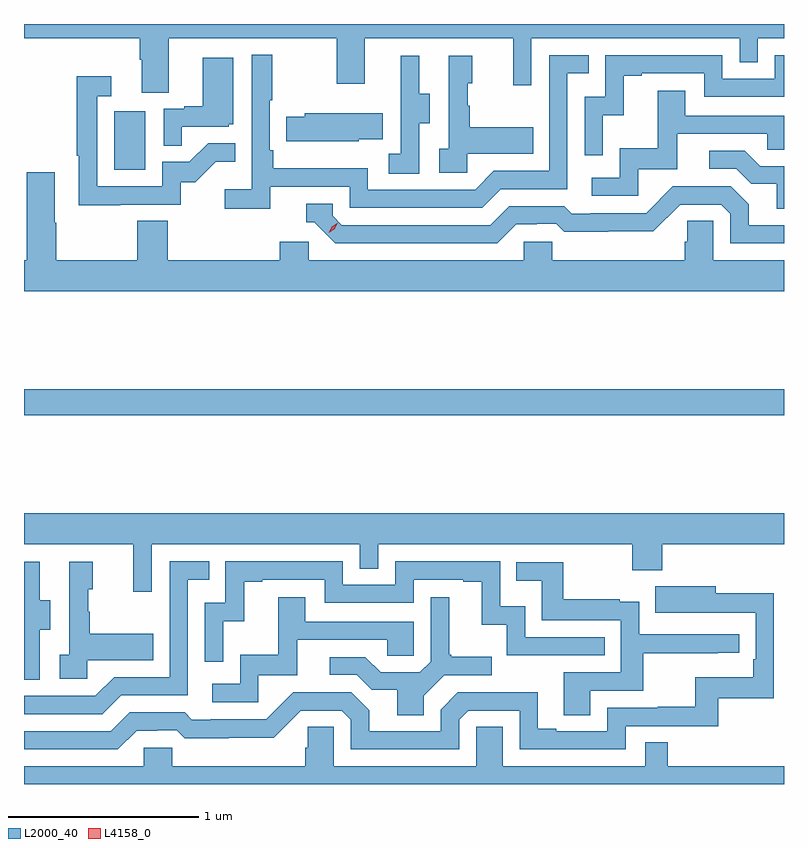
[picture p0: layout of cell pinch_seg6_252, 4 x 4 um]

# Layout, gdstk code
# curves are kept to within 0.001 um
import gdstk
lib = gdstk.Library(unit=1e-6, precision=1e-09)
def R(c, l, rs):  # rectangles x0, y0, x1, y1
    for r in rs: c.add(gdstk.rectangle(r[:2], r[2:], *l))
def P(c, l, *ps):  # polygons
    for p in ps: c.add(gdstk.Polygon(p, *l))
L2000_40 = (2000, 40)
L4158_0 = (4158, 0)

pinch_seg6_252 = lib.new_cell('pinch_seg6_252')
R(pinch_seg6_252, L2000_40, [(1103.684,921.376,1107.684,921.512), (1104.158,922.668,1104.322,922.975)])
P(pinch_seg6_252, L2000_40, [(1104.445,923.36),(1105.33,923.36),(1105.33,923.121),(1105.477,923.121),(1105.477,923.36),(1106.258,923.36),(1106.258,923.112),(1106.355,923.112),(1106.355,923.36),(1107.45,923.36),(1107.45,923.233),(1107.546,923.233),(1107.546,923.36),(1107.684,923.36),(1107.684,923.435),(1103.684,923.435),(1103.684,923.36),(1104.293,923.36),(1104.293,923.248),(1104.305,923.248),(1104.305,923.074),(1104.445,923.074)],
  [(1104.98,922.578),(1105.398,922.578),(1105.398,922.467),(1106.095,922.467),(1106.194,922.566),(1106.544,922.566),(1106.544,923.175),(1106.657,923.175),(1106.657,923.271),(1106.448,923.271),(1106.448,922.662),(1106.157,922.662),(1106.058,922.563),(1105.494,922.563),(1105.494,922.675),(1104.997,922.675),(1104.997,922.771),(1104.978,922.771),(1104.978,923.035),(1104.991,923.035),(1104.991,923.272),(1104.882,923.272),(1104.882,922.564),(1104.741,922.564),(1104.741,922.462),(1104.98,922.462)],
  [(1106.73,922.955),(1106.84,922.955),(1106.84,923.163),(1106.935,923.163),(1106.935,923.175),(1107.264,923.175),(1107.264,923.052),(1107.684,923.052),(1107.684,923.271),(1107.636,923.271),(1107.636,923.148),(1107.36,923.148),(1107.36,923.271),(1106.742,923.271),(1106.742,923.052),(1106.634,923.052),(1106.634,922.743),(1106.73,922.743)],
  [(1105.764,922.912),(1105.819,922.912),(1105.819,923.067),(1105.765,923.067),(1105.765,923.269),(1105.667,923.269),(1105.667,923.055),(1105.668,923.055),(1105.668,922.751),(1105.605,922.751),(1105.605,922.648),(1105.764,922.648)],
  [(1106.016,922.751),(1106.363,922.751),(1106.363,922.891),(1106.029,922.891),(1106.029,923.006),(1106.019,923.006),(1106.019,923.124),(1106.044,923.124),(1106.044,923.269),(1105.92,923.269),(1105.92,922.778),(1105.869,922.778),(1105.869,922.653),(1106.016,922.653)],
  [(1104.515,922.893),(1104.762,922.893),(1104.762,922.908),(1104.784,922.908),(1104.784,923.257),(1104.626,923.257),(1104.626,923.002),(1104.527,923.002),(1104.527,922.989),(1104.42,922.989),(1104.42,922.795),(1104.515,922.795)],
  [(1104.191,922.485),(1104.51,922.485),(1104.51,922.602),(1104.586,922.602),(1104.693,922.709),(1104.797,922.709),(1104.797,922.808),(1104.653,922.808),(1104.555,922.71),(1104.411,922.71),(1104.411,922.581),(1104.069,922.581),(1104.069,923.055),(1104.142,923.055),(1104.142,923.161),(1103.961,923.161),(1103.961,922.741),(1103.973,922.741),(1103.973,922.48),(1104.191,922.48)],
  [(1106.916,922.671),(1107.121,922.671),(1107.121,922.857),(1107.595,922.857),(1107.595,922.773),(1107.684,922.773),(1107.684,922.953),(1107.163,922.953),(1107.163,923.083),(1107.019,923.083),(1107.019,922.78),(1106.82,922.78),(1106.82,922.626),(1106.673,922.626),(1106.673,922.53),(1106.916,922.53)],
  [(1105.446,922.829),(1105.571,922.829),(1105.571,922.966),(1105.161,922.966),(1105.161,922.947),(1105.063,922.947),(1105.063,922.817),(1105.446,922.817)],
  [(1107.684,922.686),(1107.559,922.686),(1107.478,922.767),(1107.291,922.767),(1107.291,922.674),(1107.432,922.674),(1107.512,922.594),(1107.647,922.594),(1107.647,922.462),(1107.684,922.462)],
  [(1107.684,922.192),(1107.312,922.192),(1107.312,922.4),(1107.175,922.4),(1107.175,922.29),(1107.161,922.29),(1107.161,922.192),(1106.463,922.192),(1106.463,922.29),(1106.313,922.29),(1106.313,922.192),(1105.182,922.192),(1105.182,922.29),(1105.031,922.29),(1105.031,922.192),(1104.44,922.192),(1104.44,922.4),(1104.28,922.4),(1104.28,922.192),(1103.853,922.192),(1103.853,922.388),(1103.845,922.388),(1103.845,922.654),(1103.698,922.654),(1103.698,922.192),(1103.684,922.192),(1103.684,922.028),(1107.684,922.028)],
  [(1106.275,922.38),(1106.382,922.38),(1106.382,922.383),(1106.485,922.383),(1106.527,922.341),(1106.76,922.341),(1106.76,922.343),(1106.996,922.343),(1107.138,922.485),(1107.354,922.485),(1107.402,922.437),(1107.402,922.281),(1107.684,922.281),(1107.684,922.377),(1107.499,922.377),(1107.499,922.487),(1107.405,922.581),(1107.099,922.581),(1106.958,922.44),(1106.665,922.44),(1106.665,922.437),(1106.566,922.437),(1106.527,922.476),(1106.238,922.476),(1106.139,922.377),(1105.356,922.377),(1105.308,922.425),(1105.308,922.488),(1105.169,922.488),(1105.169,922.392),(1105.212,922.392),(1105.323,922.281),(1106.176,922.281)],
  [(1104.357,920.696),(1105.452,920.696),(1105.452,920.569),(1105.548,920.569),(1105.548,920.696),(1106.884,920.696),(1106.884,920.561),(1107.044,920.561),(1107.044,920.696),(1107.684,920.696),(1107.684,920.86),(1103.684,920.86),(1103.684,920.696),(1104.26,920.696),(1104.26,920.448),(1104.357,920.448)],
  [(1104.196,919.902),(1104.546,919.902),(1104.546,920.511),(1104.659,920.511),(1104.659,920.607),(1104.45,920.607),(1104.45,919.998),(1104.159,919.998),(1104.06,919.899),(1103.684,919.899),(1103.684,919.803),(1104.097,919.803)],
  [(1104.732,920.291),(1104.842,920.291),(1104.842,920.499),(1104.937,920.499),(1104.937,920.511),(1105.266,920.511),(1105.266,920.388),(1105.734,920.388),(1105.734,920.511),(1105.997,920.511),(1105.997,920.499),(1106.093,920.499),(1106.093,920.273),(1106.226,920.273),(1106.226,920.112),(1106.741,920.112),(1106.741,920.208),(1106.322,920.208),(1106.322,920.371),(1106.19,920.371),(1106.19,920.607),(1105.638,920.607),(1105.638,920.484),(1105.362,920.484),(1105.362,920.607),(1104.744,920.607),(1104.744,920.388),(1104.636,920.388),(1104.636,920.079),(1104.732,920.079)],
  [(1104.018,920.087),(1104.365,920.087),(1104.365,920.227),(1104.031,920.227),(1104.031,920.342),(1104.021,920.342),(1104.021,920.46),(1104.046,920.46),(1104.046,920.605),(1103.922,920.605),(1103.922,920.114),(1103.871,920.114),(1103.871,919.989),(1104.018,919.989)],
  [(1103.766,920.248),(1103.821,920.248),(1103.821,920.403),(1103.767,920.403),(1103.767,920.605),(1103.684,920.605),(1103.684,919.984),(1103.766,919.984)],
  [(1106.665,919.926),(1106.942,919.926),(1106.942,920.122),(1107.335,920.122),(1107.335,920.127),(1107.448,920.127),(1107.448,920.223),(1106.922,920.223),(1106.922,920.395),(1106.819,920.395),(1106.819,920.407),(1106.521,920.407),(1106.521,920.601),(1106.275,920.601),(1106.275,920.504),(1106.41,920.504),(1106.41,920.298),(1106.826,920.298),(1106.826,920.022),(1106.525,920.022),(1106.525,919.798),(1106.665,919.798)],
  [(1104.277,919.716),(1104.384,919.716),(1104.384,919.719),(1104.487,919.719),(1104.529,919.677),(1104.762,919.677),(1104.762,919.679),(1104.998,919.679),(1105.14,919.821),(1105.356,919.821),(1105.404,919.773),(1105.404,919.617),(1105.974,919.617),(1105.974,919.773),(1106.022,919.821),(1106.292,919.821),(1106.292,919.617),(1106.85,919.617),(1106.85,919.74),(1107.337,919.74),(1107.337,919.887),(1107.63,919.887),(1107.63,920.438),(1107.325,920.438),(1107.325,920.476),(1107.007,920.476),(1107.007,920.336),(1107.534,920.337),(1107.534,920.092),(1107.521,920.092),(1107.521,919.996),(1107.216,919.996),(1107.216,919.841),(1107.019,919.841),(1107.019,919.836),(1106.754,919.836),(1106.754,919.713),(1106.485,919.713),(1106.485,919.726),(1106.389,919.726),(1106.389,919.919),(1106.184,919.919),(1106.184,919.917),(1105.968,919.917),(1105.878,919.827),(1105.878,919.713),(1105.501,919.713),(1105.501,919.823),(1105.407,919.917),(1105.101,919.917),(1104.96,919.776),(1104.667,919.776),(1104.667,919.773),(1104.568,919.773),(1104.529,919.812),(1104.24,919.812),(1104.141,919.713),(1103.684,919.713),(1103.684,919.617),(1104.178,919.617)],
  [(1104.918,920.007),(1105.123,920.007),(1105.123,920.193),(1105.597,920.193),(1105.597,920.109),(1105.734,920.109),(1105.734,920.289),(1105.165,920.289),(1105.165,920.419),(1105.021,920.419),(1105.021,920.116),(1104.822,920.116),(1104.822,919.962),(1104.675,919.962),(1104.675,919.866),(1104.918,919.866)],
  [(1105.789,919.9),(1105.896,920.007),(1106.146,920.007),(1106.146,920.104),(1105.933,920.104),(1105.933,920.116),(1105.921,920.116),(1105.921,920.419),(1105.824,920.419),(1105.824,920.079),(1105.767,920.022),(1105.561,920.022),(1105.48,920.103),(1105.293,920.103),(1105.293,920.01),(1105.434,920.01),(1105.514,919.93),(1105.649,919.93),(1105.649,919.798),(1105.789,919.798)],
  [(1107.684,919.528),(1107.071,919.528),(1107.071,919.655),(1106.955,919.655),(1106.955,919.528),(1106.203,919.528),(1106.203,919.736),(1106.064,919.736),(1106.064,919.528),(1105.314,919.528),(1105.314,919.736),(1105.177,919.736),(1105.177,919.626),(1105.163,919.626),(1105.163,919.528),(1104.465,919.528),(1104.465,919.626),(1104.315,919.626),(1104.315,919.528),(1103.684,919.528),(1103.684,919.435),(1107.684,919.435)])
P(pinch_seg6_252, L4158_0, [(1105.288,922.336),(1105.288,922.337),(1105.303,922.369),(1105.334,922.389),(1105.334,922.389),(1105.334,922.389),(1105.318,922.356),(1105.288,922.336)])

lib.write_gds('pinch_seg6_252.gds')
